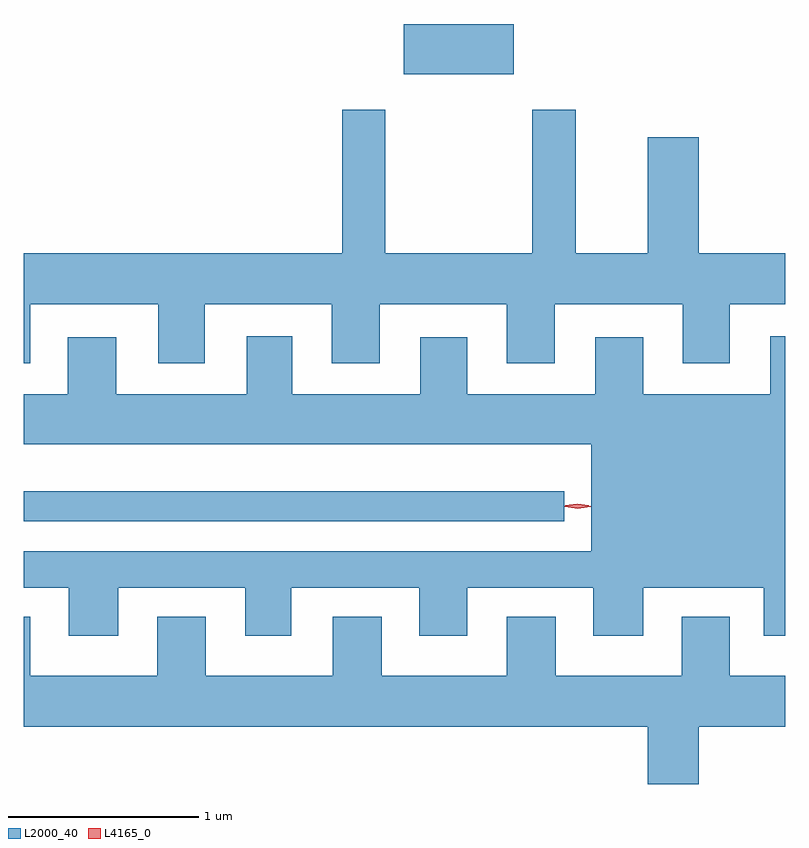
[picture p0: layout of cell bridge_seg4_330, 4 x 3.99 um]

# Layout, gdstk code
import gdstk
lib = gdstk.Library(unit=1e-6, precision=1e-09)
def R(c, l, rs):  # rectangles x0, y0, x1, y1
    for r in rs: c.add(gdstk.rectangle(r[:2], r[2:], *l))
def P(c, l, *ps):  # polygons
    for p in ps: c.add(gdstk.Polygon(p, *l))
L2000_40 = (2000, 40)
L4165_0 = (4165, 0)

bridge_seg4_330 = lib.new_cell('bridge_seg4_330')
R(bridge_seg4_330, L2000_40, [(751.259,1282.496,754.098,1282.654), (753.256,1284.846,753.834,1285.109)])
P(bridge_seg4_330, L2000_40, [(751.294,1283.636),(751.966,1283.636),(751.966,1283.326),(752.209,1283.326),(752.209,1283.636),(752.876,1283.636),(752.876,1283.326),(753.129,1283.326),(753.129,1283.636),(753.796,1283.636),(753.796,1283.326),(754.049,1283.326),(754.049,1283.636),(754.721,1283.636),(754.721,1283.326),(754.969,1283.326),(754.969,1283.636),(755.259,1283.636),(755.259,1283.904),(754.804,1283.904),(754.804,1284.514),(754.536,1284.514),(754.536,1283.904),(754.159,1283.904),(754.159,1284.659),(753.931,1284.659),(753.931,1283.904),(753.159,1283.904),(753.159,1284.659),(752.931,1284.659),(752.931,1283.904),(751.259,1283.904),(751.259,1283.326),(751.294,1283.326)],
  [(751.754,1282.146),(752.421,1282.146),(752.421,1281.896),(752.664,1281.896),(752.664,1282.146),(753.336,1282.146),(753.336,1281.896),(753.589,1281.896),(753.589,1282.146),(754.251,1282.146),(754.251,1281.896),(754.514,1281.896),(754.514,1282.146),(755.146,1282.146),(755.146,1281.896),(755.259,1281.896),(755.259,1283.469),(755.181,1283.469),(755.181,1283.164),(754.514,1283.164),(754.514,1283.464),(754.261,1283.464),(754.261,1283.164),(753.589,1283.164),(753.589,1283.464),(753.341,1283.464),(753.341,1283.164),(752.669,1283.164),(752.669,1283.469),(752.431,1283.469),(752.431,1283.164),(751.744,1283.164),(751.744,1283.464),(751.491,1283.464),(751.491,1283.164),(751.259,1283.164),(751.259,1282.901),(754.241,1282.901),(754.241,1282.339),(751.259,1282.339),(751.259,1282.146),(751.496,1282.146),(751.496,1281.896),(751.754,1281.896)],
  [(754.804,1281.416),(755.259,1281.416),(755.259,1281.684),(754.969,1281.684),(754.969,1281.994),(754.716,1281.994),(754.716,1281.684),(754.054,1281.684),(754.054,1281.994),(753.796,1281.994),(753.796,1281.684),(753.139,1281.684),(753.139,1281.994),(752.881,1281.994),(752.881,1281.684),(752.214,1281.684),(752.214,1281.994),(751.961,1281.994),(751.961,1281.684),(751.294,1281.684),(751.294,1281.994),(751.259,1281.994),(751.259,1281.416),(754.536,1281.416),(754.536,1281.116),(754.804,1281.116)])
P(bridge_seg4_330, L4165_0, [(754.166,1282.569),(754.104,1282.578),(754.103,1282.579),(754.104,1282.58),(754.166,1282.589),(754.227,1282.58),(754.228,1282.58),(754.227,1282.579)],
  [(754.169,1282.563),(754.1,1282.573),(754.1,1282.573),(754.1,1282.574),(754.169,1282.583),(754.237,1282.574),(754.238,1282.573),(754.237,1282.573)])

lib.write_gds('bridge_seg4_330.gds')
